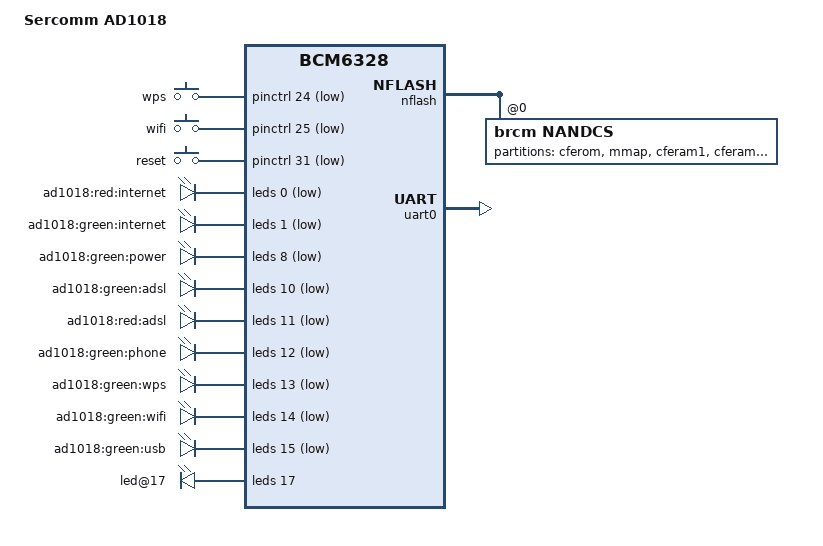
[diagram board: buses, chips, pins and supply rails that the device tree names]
// SPDX-License-Identifier: GPL-2.0-or-later

/dts-v1/;

#include "bcm6328.dtsi"

#include <dt-bindings/input/input.h>

/ {
	model = "Sercomm AD1018";
	compatible = "sercomm,ad1018", "brcm,bcm6328";

	aliases {
		led-boot = &led_power_green;
		led-failsafe = &led_power_green;
		led-running = &led_power_green;
		led-upgrade = &led_power_green;
	};

	chosen {
		bootargs = "rootfstype=squashfs,jffs2 noinitrd console=ttyS0,115200";
		stdout-path = "serial0:115200n8";
	};

	keys {
		compatible = "gpio-keys-polled";
		#address-cells = <1>;
		#size-cells = <0>;
		poll-interval = <20>;

		wps {
			label = "wps";
			gpios = <&pinctrl 24 1>;
			linux,code = <KEY_WPS_BUTTON>;
			debounce-interval = <60>;
		};

		wifi {
			label = "wifi";
			gpios = <&pinctrl 25 1>;
			linux,code = <KEY_WLAN>;
			debounce-interval = <60>;
		};

		reset {
			label = "reset";
			gpios = <&pinctrl 31 1>;
			linux,code = <KEY_RESTART>;
			debounce-interval = <60>;
		};
	};
};

&leds {
	status = "okay";

	pinctrl-names = "default";
	pinctrl-0 = <&pinctrl_leds &pinctrl_serial_led
		     &pinctrl_ephy0_spd_led &pinctrl_ephy1_act_led
		     &pinctrl_ephy2_act_led &pinctrl_ephy3_act_led>;

	brcm,serial-leds;
	brcm,serial-shift-inv;
	brcm,serial-dat-low;

	led@0 {
		reg = <0>;
		active-low;
		label = "ad1018:red:internet";
	};

	led@1 {
		reg = <1>;
		active-low;
		label = "ad1018:green:internet";
	};

	led_power_green: led@8 {
		reg = <8>;
		active-low;
		label = "ad1018:green:power";
		default-state = "on";
	};

	led@10 {
		reg = <10>;
		active-low;
		label = "ad1018:green:adsl";
	};

	led@11 {
		reg = <11>;
		active-low;
		label = "ad1018:red:adsl";
	};

	led@12 {
		reg = <12>;
		active-low;
		label = "ad1018:green:phone";
	};

	led@13 {
		reg = <13>;
		active-low;
		label = "ad1018:green:wps";
	};

	led@14 {
		reg = <14>;
		active-low;
		label = "ad1018:green:wifi";
	};

	led@15 {
		reg = <15>;
		active-low;
		label = "ad1018:green:usb";
	};

	led@17 {
		/* EPHY0 Spd */
		reg = <17>;
		brcm,hardware-controlled;
	};
};

&nflash {
	status = "okay";

	nandcs@0 {
		compatible = "brcm,nandcs";
		#size-cells = <1>;
		#address-cells = <1>;
		reg = <0>;
		nand-ecc-step-size = <512>;
		nand-ecc-strength = <15>;
		nand-on-flash-bbt;
		brcm,nand-oob-sector-size = <64>;

		partitions {
			compatible = "fixed-partitions";
			#address-cells = <1>;
			#size-cells = <1>;

			partition@0 {
				label = "cferom";
				reg = <0x0000000 0x0020000>;
				read-only;
			};

			partition@20000 {
				label = "mmap";
				reg = <0x0020000 0x00a0000>;
				read-only;
			};

			partition@c0000 {
				label = "cferam1";
				reg = <0x00c0000 0x0140000>;
				read-only;
			};

			partition@200000 {
				label = "cferam2";
				reg = <0x0200000 0x0140000>;
				read-only;
			};

			partition@340000 {
				label = "serial";
				reg = <0x0340000 0x00a0000>;
				read-only;
			};

			partition@3e0000 {
				label = "protect";
				reg = <0x03e0000 0x0140000>;
				read-only;
			};

			partition@6920000 {
				label = "bootflag1";
				reg = <0x6920000 0x0140000>;
			};

			partition@6a60000 {
				label = "bootflag2";
				reg = <0x6a60000 0x0140000>;
			};

			partition@520000 {
				compatible = "sercomm,wfi";
				label = "wfi";
				reg = <0x0520000 0x6400000>;
			};

			partition@6ba0000 {
				label = "xml_cfg";
				reg = <0x6ba0000 0x0280000>;
				read-only;
			};

			partition@6e20000 {
				label = "app_dat";
				reg = <0x6e20000 0x0280000>;
				read-only;
			};
		};
	};
};

&pinctrl {
	pinctrl_leds: leds {
		function = "led";
		pins = "gpio0", "gpio1";
	};
};

&uart0 {
	status = "okay";
};
